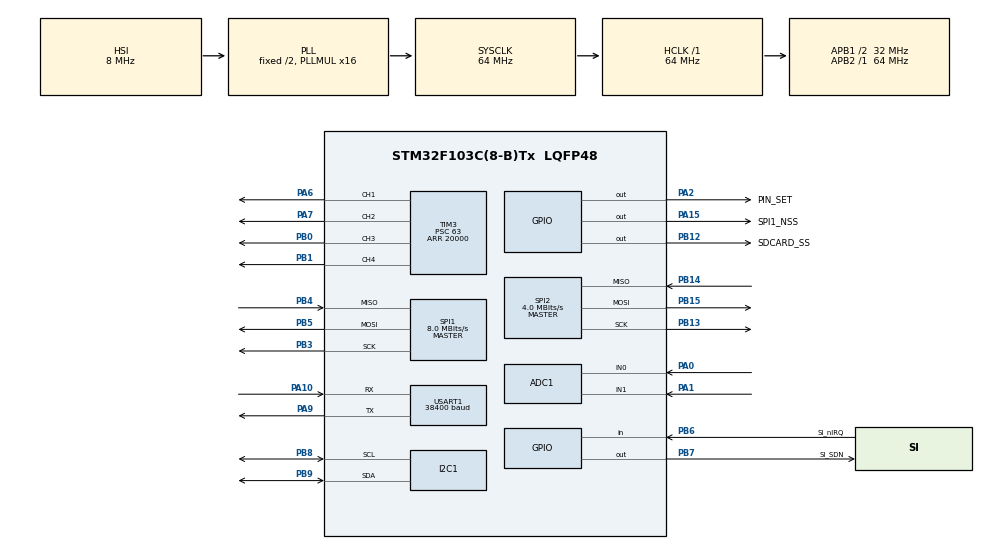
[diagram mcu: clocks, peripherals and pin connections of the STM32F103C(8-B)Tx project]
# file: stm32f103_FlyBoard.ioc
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ADC1.Channel-0\#ChannelRegularConversion=ADC_CHANNEL_0
ADC1.ContinuousConvMode=DISABLE
ADC1.DataAlign=ADC_DATAALIGN_RIGHT
ADC1.DiscontinuousConvMode=DISABLE
ADC1.EnableAnalogWatchDog=false
ADC1.EnableRegularConversion=ENABLE
ADC1.ExternalTrigConv=ADC_SOFTWARE_START
ADC1.InjNumberOfConversion=0
ADC1.NbrOfConversion=1
ADC1.NbrOfConversionFlag=1
ADC1.Rank-0\#ChannelRegularConversion=1
ADC1.SamplingTime-0\#ChannelRegularConversion=ADC_SAMPLETIME_1CYCLE_5
ADC1.ScanConvMode=ADC_SCAN_DISABLE
ADC1.master=1
Dma.Request0=USART1_TX
Dma.USART1_TX.0.Direction=DMA_MEMORY_TO_PERIPH
Dma.USART1_TX.0.Instance=DMA1_Channel4
Dma.USART1_TX.0.MemDataAlignment=DMA_MDATAALIGN_BYTE
Dma.USART1_TX.0.MemInc=DMA_MINC_ENABLE
Dma.USART1_TX.0.Mode=DMA_NORMAL
Dma.USART1_TX.0.PeriphDataAlignment=DMA_PDATAALIGN_BYTE
Dma.USART1_TX.0.PeriphInc=DMA_PINC_DISABLE
Dma.USART1_TX.0.Priority=DMA_PRIORITY_LOW
IWDG.Prescaler=IWDG_PRESCALER_64
IWDG.Reload=1250
Mcu.Family=STM32F1
Mcu.Name=STM32F103C(8-B)Tx
Mcu.Package=LQFP48
NVIC.DMA1_Channel4_IRQn=true\:0\:0\:false\:false\:true\:false
NVIC.PriorityGroup=NVIC_PRIORITYGROUP_4
NVIC.TIM2_IRQn=true\:0\:0\:false\:false\:true\:true
NVIC.USART1_IRQn=true\:0\:0\:false\:false\:true\:true
PA0-WKUP.Signal=ADCx_IN0
PA1.Signal=ADCx_IN1
PA10.Mode=Asynchronous
PA10.Signal=USART1_RX
PA13.Mode=Serial_Wire
PA13.Signal=SYS_JTMS-SWDIO
PA14.Mode=Serial_Wire
PA14.Signal=SYS_JTCK-SWCLK
PA15.GPIO_Label=SPI1_NSS
PA15.GPIO_Speed=GPIO_SPEED_FREQ_HIGH
PA15.Signal=GPIO_Output
PA2.GPIO_Label=PIN_SET
PA2.GPIO_Speed=GPIO_SPEED_FREQ_HIGH
PA2.Signal=GPIO_Output
PA6.Signal=S_TIM3_CH1
PA7.Signal=S_TIM3_CH2
PA9.Mode=Asynchronous
PA9.Signal=USART1_TX
PB0.Signal=S_TIM3_CH3
PB1.Signal=S_TIM3_CH4
PB12.GPIO_Label=SDCARD_SS
PB12.GPIO_Speed=GPIO_SPEED_FREQ_HIGH
PB12.Signal=GPIO_Output
PB13.Mode=Full_Duplex_Master
PB13.Signal=SPI2_SCK
PB14.Mode=Full_Duplex_Master
PB14.Signal=SPI2_MISO
PB15.Mode=Full_Duplex_Master
PB15.Signal=SPI2_MOSI
PB3.Mode=Full_Duplex_Master
PB3.Signal=SPI1_SCK
PB4.Mode=Full_Duplex_Master
PB4.Signal=SPI1_MISO
PB5.Mode=Full_Duplex_Master
PB5.Signal=SPI1_MOSI
PB6.GPIO_Label=SI_nIRQ
PB6.GPIO_PuPd=GPIO_PULLUP
PB6.Signal=GPIO_Input
PB7.GPIO_Label=SI_SDN
PB7.Signal=GPIO_Output
PB8.Mode=I2C
PB8.Signal=I2C1_SCL
PB9.Mode=I2C
PB9.Signal=I2C1_SDA
ProjectManager.HeapSize=0x200
ProjectManager.StackSize=0x400
ProjectManager.TargetToolchain=SW4STM32
RCC.ADCPresc=RCC_ADCPCLK2_DIV6
RCC.AHBFreq_Value=64000000
RCC.APB1CLKDivider=RCC_HCLK_DIV2
RCC.APB1Freq_Value=32000000
RCC.APB1TimFreq_Value=64000000
RCC.APB2Freq_Value=64000000
RCC.APB2TimFreq_Value=64000000
RCC.HCLKFreq_Value=64000000
RCC.PLLMUL=RCC_PLL_MUL16
RCC.SYSCLKFreq_VALUE=64000000
RCC.SYSCLKSource=RCC_SYSCLKSOURCE_PLLCLK
RCC.USBFreq_Value=64000000
SH.ADCx_IN0.0=ADC1_IN0,IN0
SH.ADCx_IN1.0=ADC1_IN1,IN1
SH.S_TIM3_CH1.0=TIM3_CH1,PWM Generation1 CH1
SH.S_TIM3_CH2.0=TIM3_CH2,PWM Generation2 CH2
SH.S_TIM3_CH3.0=TIM3_CH3,PWM Generation3 CH3
SH.S_TIM3_CH4.0=TIM3_CH4,PWM Generation4 CH4
SPI1.BaudRatePrescaler=SPI_BAUDRATEPRESCALER_8
SPI1.CalculateBaudRate=8.0 MBits/s
SPI1.Direction=SPI_DIRECTION_2LINES
SPI1.Mode=SPI_MODE_MASTER
SPI1.VirtualType=VM_MASTER
SPI2.BaudRatePrescaler=SPI_BAUDRATEPRESCALER_8
SPI2.CalculateBaudRate=4.0 MBits/s
SPI2.Direction=SPI_DIRECTION_2LINES
SPI2.Mode=SPI_MODE_MASTER
SPI2.VirtualType=VM_MASTER
TIM2.Period=20
TIM2.Prescaler=31999
TIM3.AutoReloadPreload=TIM_AUTORELOAD_PRELOAD_ENABLE
TIM3.Channel-PWM\ Generation1\ CH1=TIM_CHANNEL_1
TIM3.Channel-PWM\ Generation2\ CH2=TIM_CHANNEL_2
TIM3.Channel-PWM\ Generation3\ CH3=TIM_CHANNEL_3
TIM3.Channel-PWM\ Generation4\ CH4=TIM_CHANNEL_4
TIM3.Period=20000
TIM3.Prescaler=63
TIM3.Pulse-PWM\ Generation1\ CH1=1000
TIM3.Pulse-PWM\ Generation2\ CH2=1000
TIM3.Pulse-PWM\ Generation3\ CH3=1000
USART1.BaudRate=38400
USART1.VirtualMode=VM_ASYNC
VP_IWDG_VS_IWDG.Mode=IWDG_Activate
VP_TIM2_VS_ClockSourceINT.Mode=Internal
board=stm32f103_FlyBoard

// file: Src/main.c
/**
  ******************************************************************************
  * File Name          : main.c
  * Description        : Main program body
  ******************************************************************************
  ** This notice applies to any and all portions of this file
  * that are not between comment pairs USER CODE BEGIN and
  * USER CODE END. Other portions of this file, whether
  * inserted by the user or by software development tools
  * are owned by their respective copyright owners.
  *
  * COPYRIGHT(c) 2019 STMicroelectronics
  *
  * Redistribution and use in source and binary forms, with or without modification,
  * are permitted provided that the following conditions are met:
  *   1. Redistributions of source code must retain the above copyright notice,
  *      this list of conditions and the following disclaimer.
  *   2. Redistributions in binary form must reproduce the above copyright notice,
  *      this list of conditions and the following disclaimer in the documentation
  *      and/or other materials provided with the distribution.
  *   3. Neither the name of STMicroelectronics nor the names of its contributors
  *      may be used to endorse or promote products derived from this software
  *      without specific prior written permission.
  *
  * THIS SOFTWARE IS PROVIDED BY THE COPYRIGHT HOLDERS AND CONTRIBUTORS "AS IS"
  * AND ANY EXPRESS OR IMPLIED WARRANTIES, INCLUDING, BUT NOT LIMITED TO, THE
  * IMPLIED WARRANTIES OF MERCHANTABILITY AND FITNESS FOR A PARTICULAR PURPOSE ARE
  * DISCLAIMED. IN NO EVENT SHALL THE COPYRIGHT HOLDER OR CONTRIBUTORS BE LIABLE
  * FOR ANY DIRECT, INDIRECT, INCIDENTAL, SPECIAL, EXEMPLARY, OR CONSEQUENTIAL
  * DAMAGES (INCLUDING, BUT NOT LIMITED TO, PROCUREMENT OF SUBSTITUTE GOODS OR
  * SERVICES; LOSS OF USE, DATA, OR PROFITS; OR BUSINESS INTERRUPTION) HOWEVER
  * CAUSED AND ON ANY THEORY OF LIABILITY, WHETHER IN CONTRACT, STRICT LIABILITY,
  * OR TORT (INCLUDING NEGLIGENCE OR OTHERWISE) ARISING IN ANY WAY OUT OF THE USE
  * OF THIS SOFTWARE, EVEN IF ADVISED OF THE POSSIBILITY OF SUCH DAMAGE.
  *
  ******************************************************************************
  */
#include "main.h"
#include "stm32f1xx_hal.h"

/* USER CODE BEGIN Includes */

#include "Kalman.h"
#include "MPU9250.h"

#include "Si4463.h"
#include "radio_config_Si4463.h"

#include "uSD.h"

/* USER CODE END Includes */

ADC_HandleTypeDef hadc1;

I2C_HandleTypeDef hi2c1;

IWDG_HandleTypeDef hiwdg;

SPI_HandleTypeDef hspi1;
SPI_HandleTypeDef hspi2;

TIM_HandleTypeDef htim2;
TIM_HandleTypeDef htim3;

UART_HandleTypeDef huart1;
DMA_HandleTypeDef hdma_usart1_tx;

/* USER CODE BEGIN PV */
/* Private variables ---------------------------------------------------------*/

int timerUpdater = 5000;	// Timer for set motors to default state

extern pos_struct Est_A, Est_G, Est_M;
//pos_struct Est_G;
//pos_struct Est_M;
extern signed short MPU_temp;
extern signed int BMP_temp;
extern signed int BMP_press;

float Calc_Pitch=0, Calc_Roll=0, Calc_Yaw=0;	// Calculated position to send out

extern uint8_t aTxBuffer[1];	// DATA from MPU9250 with result value

struct GPSdataStruct{
	uint32_t time;

	uint32_t day;

	uint16_t speed;
	uint16_t hight;
	uint32_t longer;
	uint8_t longer_p;
	uint32_t latit;
	uint8_t latit_p;
	uint8_t N_sp;
	uint8_t autent;
	uint8_t dir_deg;
}GPSdata;

/*
 * Values for set settings SET_...
 */

unsigned char SETmainMotor = 0;	// 0 - off else - on
unsigned char SETmainMotorValue = 0;	//0-255
unsigned char SETsecondMotor = 0;	// 0 - off else - on
unsigned char SETsecondMotorValue = 0;	//0-255
unsigned char SETservo1 = 0;		// 0 - off else - on
unsigned char SETservo1Value = 0;	//0-255
unsigned char SETservo2 = 0;		// 0 - off else - on
unsigned char SETservo2Value = 0;	//0-255
unsigned char SETindication = 0;	//0-indication off else - on

unsigned char SET_typeManage = 0;

unsigned char SET_StabRoll = 0;
unsigned char SET_StabPitch = 0;
unsigned char SET_StabYaw = 0;
unsigned char SET_StabAngelPitch = 0;
unsigned char SET_StabAngelRoll = 0;
unsigned char SET_StabKoeffManage1 = 127;	//ROLL
unsigned char SET_StabKoeffManage2 = 127;	//PITCH
unsigned char SET_StabServo1 = 0;		// if 1 - inverse 0 - norm
unsigned char SET_StabServo2 = 0;		// if 1 - inverse 0 - norm
unsigned char SET_StabKoeffCh1 = 127;		//ROLL
unsigned char SET_StabKoeffCh2 = 127;		//PITCH

unsigned char SET_pos_rev = 0;
unsigned char SET_pos_ang1 = 0x3;//(0x02;pitch reverse)//
unsigned char SET_pos_ang2 = 0x13;

unsigned char SET_StabServoMax1 = 127;		// max Value servo 1
unsigned char SET_StabServoMax2 = 127;		// max Value servo 2

unsigned char SET_CmdTimeout = 20;//200;		// max Value servo 2

unsigned char SET_math_K_angle = 1;		//Kalman Q_angle = SET*0.001;
unsigned char SET_math_K_bias = 3;			//Kalman Q_bias = SET*0.001;
unsigned char SET_math_K_measure = 30;;		//Kalman R_measure = SET*0.001;
unsigned char SET_math_gyroRate = 131;// Kalman rate = gyro/SET_math_gyroRate;

int ADC_data_0 = 0;
int ADC_data_1 = 0;

//circular buffer for receive commands
#define READCMDSTREAM_ARRAY 10

unsigned char ReadCommandStreamArray[READCMDSTREAM_ARRAY][100];
unsigned char ReadCommandStreamArrayCnt[READCMDSTREAM_ARRAY];
int ReadCommandStreamArray_rd=0;
int ReadCommandStreamArray_wr=0;

struct Kalman 	Kalman1 = {0.001, 0.003, 0.03, 0, 0, 0, {{0,0},{0,0}}, {0,0}, 0, 0},	//roll angle stabilization filter
				Kalman2 = {0.001, 0.003, 0.03, 0, 0, 0, {{0,0},{0,0}}, {0,0}, 0, 0};	//pitch angle stabilization filter

int timerMathKalman = 0;	// timer to calculate the angular position of the change in gyroscope

/* USER CODE END PV */

void SystemClock_Config(void);
static void MX_GPIO_Init(void);
static void MX_DMA_Init(void);
static void MX_USART1_UART_Init(void);
static void MX_I2C1_Init(void);
static void MX_ADC1_Init(void);
static void MX_TIM3_Init(void);
static void MX_SPI2_Init(void);
static void MX_TIM2_Init(void);
static void MX_IWDG_Init(void);
static void MX_SPI1_Init(void);

void HAL_TIM_MspPostInit(TIM_HandleTypeDef *htim);

/* USER CODE BEGIN PFP */
/* Private function prototypes -----------------------------------------------*/

void ModemControl(void);
int Read_ADC_Channel(int channel);
void MathData(void);
//void SendDataCMD2(void);
//void SendDataCMD4(void);
void SendDataCMD6(void);
void ReadCommandStream(unsigned char data);
void PrepareDataToTx(void);
void ReadStream(void);
void ReadModem(void);

/* USER CODE END PFP */

/* USER CODE BEGIN 0 */

int modem_busy = 1;		// modem status to avoid collision (may be to future)

#define PACKET_LEN 64	// length receive buffer of modem

#define SYNCHRO_MODE 1	// 1- synchronization mode; 0- simple mode. More in stm8+si4463 project

#define NONE_P  while(0){};	//GPIO_WriteHigh(GPIOB, (GPIO_Pin_TypeDef)GPIO_PIN_5); Delay_ms(1); GPIO_WriteLow(GPIOB, (GPIO_Pin_TypeDef)GPIO_PIN_5)
//#define NONE_P  Delay_ms(1)

typedef enum  {
	PACKET_NONE 		= 0,
	PACKET_DATA			= 1,
	PACKET_ASK			= 2,
	PACKET_ANSWER		= 3,
} PACKET_TYPE;

//  Variables of modem
//volatile int time_delay=0;
//volatile int time_last_tx=0;
volatile int delay_to_wait_answer=0;
volatile int delay_measure_tx=0;
volatile int delay_synchro=0;
char NeedAnswer=0;
int delay_measure_tx_middle=0;

//DELETE									//circular buffer for send out by RF
#define UART_BUF_SIZE 255			// buffer lenght
char UartRxBuffer[UART_BUF_SIZE];	// buffer
volatile int UartRxBuffer_rd = 0;	// read array
volatile int UartRxBuffer_wr = 0;	//	write array

#define BUFFER_TX_RF 64
char BufferTxRf[UART_BUF_SIZE];	// buffer
volatile int BufferTxRf_len = 0;	// read array

unsigned char rbuff[PACKET_LEN],  wbuff[PACKET_LEN];	// in/out buffer of modem

#define StartUP 2000

typedef enum  {
	thread_MPU_temp 			= 0,
	thread_MPU_acc				= 1,
	thread_MPU_gyro				= 2,
	thread_MPU_ag				= 3,
	thread_MPU_mag				= 4,
	thread_BMP_temp				= 5,
	thread_BMP_press			= 6,
	thread_BMP_all				= 7,
	thread_ADC					= 8,
	thread_ModemControl			= 9,
	thread_PrepareDataToTx		= 10,	// Changed to update data to transfer
	thread_ReadStream			= 11,
	thread_ReInit				= 12,
}thread_name;							// names of my threads

// My threads

struct ThreadFlyStruct {			// This is time settings for some processes
	int name;		//enabled = 1 => on; else off
	int enabled;		//enabled = 1 => on; else off
	int t_counter;		//time to run
	int t_interval;		//interval to run

	int status;			//status thread // if (status<0) => error; else pointer in process
	int priority;		// 1..10; 10 high 1 - low
} 		ThreadFly[] = {	{thread_MPU_temp,			1, 	StartUP, 		500, 	-1, 	1},
						{thread_MPU_acc,			0, 	StartUP, 		300, 	-1, 	1},
						{thread_MPU_gyro,			0, 	StartUP, 		300, 	-1, 	1},
						{thread_MPU_ag,				1, 	StartUP, 		50, 	-1, 	1},
						{thread_MPU_mag,			1, 	StartUP, 		500, 	-1, 	1},
						{thread_BMP_temp,			0, 	StartUP+1000, 	2000, 	-1, 	1},
						{thread_BMP_press,			0, 	StartUP, 		2000, 	-1, 	1},
						{thread_BMP_all,			1, 	StartUP, 		250, 	-1, 	1},
						{thread_ADC,				1, 	StartUP, 		1000, 	0, 		1},
						{thread_ModemControl,		1, 	StartUP, 		100, 	0, 		1},
						{thread_PrepareDataToTx,	1, 	StartUP, 		100, 	0, 		1},	//250
						{thread_ReadStream,			1, 	StartUP+50, 	100, 	0, 		1},
						{thread_ReInit,				1, 	5000, 			5000, 	0, 		1}};

// if i2c interface not disabled, then read/write uSD card by SPI will be not correct
#define EN_I2C SET_BIT(RCC->APB1ENR, RCC_APB1ENR_I2C1EN) 		//disable I2c
#define DIS_I2C CLEAR_BIT(RCC->APB1ENR, RCC_APB1ENR_I2C1EN) 	//disable I2c

void moduleMPU9250_Init(void){

	// if any thread is stopped
	if ((ThreadFly[thread_MPU_temp].status >= 0) && ((ThreadFly[thread_MPU_acc].status >= 0) && (ThreadFly[thread_MPU_gyro].status >= 0) &&
		(ThreadFly[thread_MPU_ag].status >= 0) && (ThreadFly[thread_MPU_mag].status >= 0) && (ThreadFly[thread_BMP_temp].status >= 0) &&
		(ThreadFly[thread_BMP_press].status >= 0) && (ThreadFly[thread_BMP_all].status >= 0))) return;

	  EN_I2C;
	  int status_MPU_Init = MPU_Init();						// Init Chip MPU9250
	  DIS_I2C;
	  if (status_MPU_Init == 0) Printf("Device init\n\r");
	  else if (status_MPU_Init == -1) Printf("I2C error, id is %d\n\r", aTxBuffer[0]);
	  else if (status_MPU_Init == -2) Printf("AXIS error, id is %d\n\r", aTxBuffer[0]);
	  else if (status_MPU_Init == -3) Printf("MAG error, id is %d\n\r", aTxBuffer[0]);
	  else if (status_MPU_Init == -4) Printf("BMP error, id is %d\n\r", aTxBuffer[0]);
	  else Printf("Error nothing\n\r");

#define Update(x) if(1){x.status=0; x.t_counter=x.t_interval;}	// thread run

	  if (status_MPU_Init == 0){	// if init MPU9250 OK
		  Update(ThreadFly[thread_MPU_temp]);
		  Update(ThreadFly[thread_MPU_acc]);
		  Update(ThreadFly[thread_MPU_gyro]);
		  Update(ThreadFly[thread_MPU_ag]);
		  Update(ThreadFly[thread_MPU_mag]);
	  }

	  if (status_MPU_Init == 0){EN_I2C;status_MPU_Init = BMPInit();DIS_I2C;}		// Init Chip BMP280

	  if (status_MPU_Init == 0){	//if init MP280 OK
		  Update(ThreadFly[thread_BMP_temp]);
		  Update(ThreadFly[thread_BMP_press]);
		  Update(ThreadFly[thread_BMP_all]);
	  }

}

// handler of all threads
void RunThread(struct ThreadFlyStruct * Struct){
	//if ((Struct->enabled == 0) || (Struct->t_counter != 0) || (Struct->status < 0)) return;
	if (Struct->name == thread_MPU_temp){				EN_I2C;	Struct->status = Get_temp();	DIS_I2C;	}
	else if (Struct->name == thread_MPU_acc){			EN_I2C;	Struct->status = Get_acc();DIS_I2C;}
	else if (Struct->name == thread_MPU_gyro){			EN_I2C;	Struct->status = Get_gyro();	DIS_I2C;}
	else if (Struct->name == thread_MPU_ag){			EN_I2C;	Struct->status = Get_acc(); Get_gyro(); MathData();	DIS_I2C;}
	else if (Struct->name == thread_MPU_mag){			EN_I2C;	Struct->status = Get_mag();	DIS_I2C;}
	else if (Struct->name == thread_BMP_temp){			EN_I2C;	Struct->status = GetBmpTemp();DIS_I2C;}
	else if (Struct->name == thread_BMP_press){			EN_I2C;	Struct->status = GetBmpPress();	DIS_I2C;}
	else if (Struct->name == thread_BMP_all){EN_I2C;	Struct->status = GetDataBmp_cycle();	DIS_I2C;}
	else if (Struct->name == thread_ADC){				ADC_data_0 = Read_ADC_Channel(0); ADC_data_0=(ADC_data_0*3300)/0xFFF;}
	else if (Struct->name == thread_ModemControl){		ModemControl();	}
	else if (Struct->name == thread_PrepareDataToTx){	PrepareDataToTx();}
	else if (Struct->name == thread_ReadStream){		ReadStream();}
	else if (Struct->name == thread_ReInit){			moduleMPU9250_Init();}

	//Struct->t_counter = Struct->t_interval;	// Update counter
}

//poll all threads
//execute the stream with the highest priority and exit
void Thread_Cycle(void)
{
	int thread_all=sizeof(ThreadFly)/sizeof(ThreadFly[0]);
	int priority=10;
	int priorityVar[11] = {0,};	// stories priority options

	//Look at all the priorities
	for (priority=10;priority>0; priority--){	// looking for what priority options exist.
		int cnt = 0;
		priorityVar[priority]=0; 	// priority does not exist
		for (cnt=0; cnt<thread_all; cnt++){
			if (ThreadFly[cnt].priority == priority)
			{
				priorityVar[priority]=1; // priority exist
				continue;
			}
		}
	}
	//Look at all exist the priorities
	for (priority=10;priority>0; priority--){
		if (priorityVar[priority] != 1) continue;	// priority does not exist
		int cnt = 0;
		for (cnt=0; cnt<thread_all; cnt++){
			if ((ThreadFly[cnt].priority == priority) && (ThreadFly[cnt].enabled == 1) && (ThreadFly[cnt].t_counter == 0) && (ThreadFly[cnt].status >= 0)){
				RunThread(&ThreadFly[cnt]);	// Run thread
				ThreadFly[cnt].t_counter = ThreadFly[cnt].t_interval;	// Update counter
				return;
			}
		}
	}
}

// 1ms SYS Callback
void HAL_SYSTICK_Callback(void)
{
	static int timSec = 0;
	if (0)if (timSec++>5000){timSec=0; Printf("rx time is %d\n\r", GPSdata.time);
	 Printf("day is %d\n\r", GPSdata.day);
	 Printf("autent is %d\n\r", GPSdata.autent);
	 Printf("speed is %d\n\r", GPSdata.speed);
	 Printf("dir_deg is %d\n\r", GPSdata.dir_deg);
	 Printf("longer is %d\n\r", GPSdata.longer);
	 Printf("longer_p is %d\n\r", GPSdata.longer_p);
	 Printf("latit is %d\n\r", GPSdata.latit);
	 Printf("latit_p is %d\n\r", GPSdata.latit_p);
	 Printf("N_sp is %d\n\r", GPSdata.N_sp);
	 Printf("hight is %d\n\r", GPSdata.hight);
	}

	timerMathKalman++;

	if(delay_to_wait_answer>0) delay_to_wait_answer--;
	else ThreadFly[thread_ModemControl].t_counter = 0;//{thread_ModemControl.t_counter = 0;}														//TODO

	if(delay_synchro>0) delay_synchro--;	// timer for synchronization modem
	delay_measure_tx++;

// Updater time for counters
	if (ThreadFly[thread_MPU_temp].t_counter>0) ThreadFly[thread_MPU_temp].t_counter--;
	if (ThreadFly[thread_MPU_acc].t_counter>0) ThreadFly[thread_MPU_acc].t_counter--;
	if (ThreadFly[thread_MPU_gyro].t_counter>0) ThreadFly[thread_MPU_gyro].t_counter--;
	if (ThreadFly[thread_MPU_ag].t_counter>0) ThreadFly[thread_MPU_ag].t_counter--;
	if (ThreadFly[thread_MPU_mag].t_counter>0) ThreadFly[thread_MPU_mag].t_counter--;
	if (ThreadFly[thread_BMP_temp].t_counter>0) ThreadFly[thread_BMP_temp].t_counter--;
	if (ThreadFly[thread_BMP_press].t_counter>0) ThreadFly[thread_BMP_press].t_counter--;
	if (ThreadFly[thread_BMP_all].t_counter>0) ThreadFly[thread_BMP_all].t_counter--;
	if (ThreadFly[thread_ADC].t_counter>0) ThreadFly[thread_ADC].t_counter--;
	if (ThreadFly[thread_ModemControl].t_counter>0) ThreadFly[thread_ModemControl].t_counter--;
	if (ThreadFly[thread_PrepareDataToTx].t_counter>0) ThreadFly[thread_PrepareDataToTx].t_counter--;
	if (ThreadFly[thread_ReadStream].t_counter>0) ThreadFly[thread_ReadStream].t_counter--;
	if (ThreadFly[thread_ReInit].t_counter>0) ThreadFly[thread_ReInit].t_counter--;

	if (timerUpdater>0){timerUpdater--;}
	else {
		if (SET_typeManage==0) {		// manual manage
			timerUpdater=SET_CmdTimeout*100;
			  TIM3->CCR1 = 1000;	//main motor
			  TIM3->CCR2 = 1500;	//servo2
			  TIM3->CCR3 = 1500;	//servo1
			  TIM3->CCR4 = 1000;	//second motor
		}
		else if (SET_typeManage==1) {	//auto manage
			timerUpdater=SET_CmdTimeout*100;
			  TIM3->CCR1 = 1000;	//main motor
			  TIM3->CCR4 = 1000;	//second motor
			SET_StabRoll=0;
			SET_StabPitch=0;
			SET_StabYaw=0;
		}

	}

}

/* ADC init function */
static void ADC_Change_Channel(int Channel)
{

	  ADC_ChannelConfTypeDef sConfig;

	    /**Common config
	    */
	  hadc1.Instance = ADC1;
	  hadc1.Init.ScanConvMode = ADC_SCAN_DISABLE;
	  hadc1.Init.ContinuousConvMode = DISABLE;
	  hadc1.Init.DiscontinuousConvMode = DISABLE;
	  hadc1.Init.ExternalTrigConv = ADC_SOFTWARE_START;
	  hadc1.Init.DataAlign = ADC_DATAALIGN_RIGHT;
	  hadc1.Init.NbrOfConversion = 1;
	  if (HAL_ADC_Init(&hadc1) != HAL_OK)
	  {
	    _Error_Handler(__FILE__, __LINE__);
	  }

	    /**Configure Regular Channel
	    */

    /**Configure for the selected ADC regular channel to be converted.
    */

	  sConfig.Channel = Channel;//ADC_CHANNEL_1;
	  sConfig.Rank = 1;
	  sConfig.SamplingTime = ADC_SAMPLETIME_1CYCLE_5;
	  if (HAL_ADC_ConfigChannel(&hadc1, &sConfig) != HAL_OK)
	  {
	    _Error_Handler(__FILE__, __LINE__);
	  }

}

int Read_ADC_Channel(int channel)
{
	int adcResult=0, i=0,Count = 10;	// if Count = 1 => Time read = 50us; if Count = 10 => Time read = 63.6us
	  HAL_ADC_DeInit(&hadc1);
	  ADC_Change_Channel(channel);

	  HAL_ADC_Start(&hadc1);
	  HAL_ADC_PollForConversion(&hadc1, 100);
	  for (i=0; i<Count; i++)
		  {
		  adcResult += HAL_ADC_GetValue(&hadc1);
		  }
	  HAL_ADC_Stop(&hadc1);
	  return (adcResult/Count);
}

#include <stdarg.h>

void Printf(const char *fmt, ...)
{
	static char buf[256];
	char *p;
	va_list lst;

	va_start(lst, fmt);
	vsprintf(buf, fmt, lst);
	va_end(lst);

	p = buf;
	while(*p) {
		HAL_UART_Transmit(&huart1, (unsigned char *)p, 1, 500);
		p++;
	}
}

void PrepareDataToTx(void){
//	if (1)if (SendDataUART_fl){
//		SendDataUART_fl=0;
	SendDataCMD6();
		//HAL_UART_Transmit(&huart1, PacketToSend, sizeof(CMD2PacketStruct)-2, 500);	//41

//	}
}

void ReadStream(void){
	if (ReadCommandStreamArray_rd != ReadCommandStreamArray_wr){

		int cnt = ReadCommandStreamArrayCnt[ReadCommandStreamArray_rd];
		int i=0;
	  if (cnt>0)do{
		 ReadCommandStream(ReadCommandStreamArray[ReadCommandStreamArray_rd][i++]);
	  }while(--cnt>0);
	  if(++ReadCommandStreamArray_rd>=READCMDSTREAM_ARRAY)ReadCommandStreamArray_rd=0;

	}
}

#include "Kalman.h"
#include <math.h>

void MathData(void)		//Calculate data by acceleration, gyroscope and magnetometer
{
	#define RAD_TO_DEG (180/3.14159265)
	// type 1	// true
	//double kalAngle1 = getAngle1((atan2(Est_A.y,Est_A.z))*RAD_TO_DEG, (double)Est_G.x/131.0, (double)(timerMathKalman)/1000);
	//double kalAngle2 = getAngle2((atan2(Est_A.x,Est_A.z))*RAD_TO_DEG, -((double)Est_G.y/131.0), (double)(timerMathKalman)/1000);

	// type 2	face to up dlo is back
	//double kalAngle1 = getAngle2((-atan2(-Est_A.x,Est_A.z))*RAD_TO_DEG, -((double)Est_G.y/131.0), (double)(timerMathKalman)/1000);
	//double kalAngle2 = getAngle1((-atan2(Est_A.y,Est_A.z))*RAD_TO_DEG, -(double)Est_G.x/131.0, (double)(timerMathKalman)/1000);

	// type 3 ( revers type 2 by roll 180)	face to down dlo is back

	//double kalAngle2 = getAngle1((atan2(-Est_A.y,-Est_A.z))*RAD_TO_DEG, (double)Est_G.x/131.0, (double)(timerMathKalman)/1000);
	//double kalAngle1 = getAngle2((atan2(-Est_A.x,-Est_A.z))*RAD_TO_DEG, -((double)Est_G.y/131.0), (double)(timerMathKalman)/1000);

	double ang1;// = (atan2(-Est_A.y,-Est_A.z))*RAD_TO_DEG;
	double gyro_div = SET_math_gyroRate;
	double gyro1 = (double)Est_G.x/gyro_div;//131.0;

	signed short arg1_1 = Est_A.y;
	signed short arg1_2 = Est_A.z;

	if ((SET_pos_ang1&(0x1<<0)) != 0) arg1_1 = -arg1_1;
	if ((SET_pos_ang1&(0x1<<1)) != 0) arg1_2 = -arg1_2;

	ang1 = (atan2(arg1_1,arg1_2))*RAD_TO_DEG;
	if ((SET_pos_ang1&(0x1<<5)) != 0) ang1 = -ang1;
	if ((SET_pos_ang1&(0x1<<4)) != 0) gyro1 = -gyro1;

	double ang2;// = (atan2(-Est_A.x,-Est_A.z))*RAD_TO_DEG;
	double gyro2 = ((double)Est_G.y/gyro_div);//131.0);

	signed short arg2_1 = Est_A.x;
	signed short arg2_2 = Est_A.z;

	if ((SET_pos_ang2&(0x1<<0)) != 0) arg2_1 = -arg2_1;
	if ((SET_pos_ang2&(0x1<<1)) != 0) arg2_2 = -arg2_2;

	ang2 = (atan2(arg2_1,arg2_2))*RAD_TO_DEG;
	if ((SET_pos_ang2&(0x1<<5)) != 0) ang2 = -ang2;
	if ((SET_pos_ang2&(0x1<<4)) != 0) gyro2 = -gyro2;

	ang1+=180;	//convert angle
	ang2+=180;

	double kalAngle2 = getAngle(&Kalman1, ang1, gyro1, (double)(timerMathKalman)/1000);
	double kalAngle1 = getAngle(&Kalman2, ang2, gyro2, (double)(timerMathKalman)/1000);

	if (SET_pos_rev != 0){
		double temp =  kalAngle2;
		kalAngle2 = kalAngle1;
		kalAngle1 = temp;
	}

	kalAngle1-=180;
	kalAngle2-=180;
	timerMathKalman=0;

	Calc_Roll = kalAngle1;
	Calc_Pitch = kalAngle2;
	Calc_Yaw= atan2(Calc_Pitch, Calc_Roll)*RAD_TO_DEG;

	//stabilization	//FIXME

if (SET_typeManage==0) return;		// if manual control

//if auto correction angle by position

	/*
	 *
unsigned char SET_typeManage = 0;
unsigned char SET_StabRoll = 0;
unsigned char SET_StabPitch = 0;
unsigned char SET_StabYaw = 0;
unsigned char SET_StabAngelRoll = 0;
unsigned char SET_StabAngelPitch = 0;
unsigned char SET_StabMaxValue1 = 127;	//ROLL
unsigned char SET_StabMaxValue2 = 127;	//PITCH
unsigned char SET_StabServo1 = 0;		// if 1 - inverse 0 - norm
unsigned char SET_StabServo2 = 0;		// if 1 - inverse 0 - norm
unsigned char SET_StabKoeffCh1 = 90;		//ROLL
unsigned char SET_StabKoeffCh2 = 90;		//PITCH

unsigned char SET_pos_rev = 0;
unsigned char SET_pos_ang1 = 0x3;//(0x02;pitch reverse)//
unsigned char SET_pos_ang2 = 0x13;

unsigned char SET_StabServoMax1 = 127;		// max Value servo 1
unsigned char SET_StabServoMax2 = 127;		// max Value servo 2

	 */

	int CH_pitch = 0;
	int CH_roll = 0;

	signed char SetAngel = *(char *)&SET_StabAngelPitch;
	signed char SetRollAngel = *(char *)&SET_StabAngelRoll;

	CH_roll = *(signed char *)&SET_StabRoll;
	CH_pitch = *(signed char *)&SET_StabPitch;

	int servo1 = 0;
	int servo2 = 0;

	//int diff = ((Calc_Roll + CH_roll)*SET_StabMaxValue1)/SET_StabKoeffCh1;
	int diff = (((Calc_Roll + SetRollAngel)*SET_StabKoeffCh1)/45) + ((CH_roll*SET_StabKoeffManage1)/100);
	//int position = ((Calc_Pitch + SetAngel+ CH_pitch)*SET_StabMaxValue2)/SET_StabKoeffCh2;
	int position = ((Calc_Pitch + SetAngel)*SET_StabKoeffCh2)/45 +
											(CH_pitch*SET_StabKoeffManage2)/100;

	int diff1 = 0;
	int diff2 = 0;

	if ((SET_StabServo1&0x2) == 0)	{diff1 = diff;}
	else	{diff1 = -diff;}
	if ((SET_StabServo2&0x2) == 0)	{diff2 = diff;}
	else	{diff2 = -diff;}

	if ((SET_StabServo1&0x1) == 0)	{servo1 = position +diff1;}	//norm value
	else  							{servo1 = -position +diff1;}//inverse value

	if ((SET_StabServo2&0x1) == 0)	{servo2 = -position +diff2;}//norm value
	else 							{servo2 = position +diff2;}	//inverse value

//#define SERVO_MAXVALUE 127
	if (servo1>SET_StabServoMax1) servo1 = SET_StabServoMax1;
	if (servo1<(0-SET_StabServoMax1)) servo1 = -SET_StabServoMax1;
	if (servo2>SET_StabServoMax2) servo2 = SET_StabServoMax2;
	if (servo2<(0-SET_StabServoMax2)) servo2 = -SET_StabServoMax2;

	int setValue;

	setValue = 1500 + ((servo1*500)/0x7F);
	if ((setValue>2000) || (setValue<1000)) setValue = 1500;
	TIM3->CCR2 = setValue;

	setValue = 1500 + ((servo2*500)/0x7F);
	if ((setValue>2000) || (setValue<1000)) setValue = 1500;
	TIM3->CCR3 = setValue;

}

int GPRMC = 0;
char GPRMC_s[5] = "GPRMC";
int GPGGA = 0;
char GPGGA_s[5] = "GPGGA";

void RxDataUart(unsigned char data){		// read GPS data

	static int pos = 0;
	static int dataPos = 0;
	static int dataRead = 0;
	static int dataReadPoint = 0;
	static char dataReadChar = 0;

	if ((pos == 0) && (data == '$')) {pos++; GPRMC=0; GPGGA=0; dataPos=0; dataReadChar='\0';}
	else if ((pos >= 1) && (pos <= 5)){
		if (GPRMC_s[pos-1] == data) GPRMC++;
		if (GPGGA_s[pos-1] == data) GPGGA++;
		pos++;
	}
	else if ((pos == 6) && ((GPRMC == 5) || GPGGA == 5)) {//datarx++;
		if (data == ','){
			if (GPRMC == 5){
				if (dataPos == 1){GPSdata.time = dataRead/100;}
				if (dataPos == 2){GPSdata.autent = dataReadChar;}
				if (dataPos == 7){GPSdata.speed = dataRead/dataReadPoint;}
				if (dataPos == 8){GPSdata.dir_deg = dataRead/dataReadPoint;}
				if (dataPos == 9){GPSdata.day = dataRead;}
			}
			else if (GPGGA == 5){
				if (dataPos == 1){GPSdata.time = dataRead/100;}
				if (dataPos == 2){GPSdata.longer = dataRead;}
				if (dataPos == 3){GPSdata.longer_p = dataReadChar;}
				if (dataPos == 4){GPSdata.latit = dataRead;}
				if (dataPos == 5){GPSdata.latit_p = dataReadChar;}
				if (dataPos == 7){GPSdata.N_sp = dataRead;}
				if (dataPos == 9){GPSdata.hight = dataRead/(dataReadPoint);}
			}
			dataRead=0; dataReadPoint=0;
			dataPos++;}

		else if ((data == '\n') || (data == '\r') || (data < 0x10)) pos=0;
		else {
			if ((data>=0x30) && (data<=0x39)) {dataRead*=10; dataRead+=data-0x30; if (dataReadPoint!=0)dataReadPoint*=10;}
			else if (data == '.') dataReadPoint++;
			else dataReadChar += data;
		}
	}
	else pos=0;

}

/* USER CODE END 0 */

int main(void)
{

  /* MCU Configuration----------------------------------------------------------*/

  /* Reset of all peripherals, Initializes the Flash interface and the Systick. */
  HAL_Init();

  /* Configure the system clock */
  SystemClock_Config();

  /* Initialize all configured peripherals */
  MX_GPIO_Init();
  MX_DMA_Init();
  MX_USART1_UART_Init();
  MX_I2C1_Init();
  MX_ADC1_Init();
  MX_TIM3_Init();
  MX_SPI2_Init();
  MX_TIM2_Init();
  MX_IWDG_Init();
  MX_SPI1_Init();

  /* USER CODE BEGIN 2 */

  CLEAR_BIT(RCC->APB1ENR, RCC_APB1ENR_I2C1EN); //disable I2c

  HAL_IWDG_Init(&hiwdg);
  __HAL_IWDG_START(&hiwdg);
  HAL_IWDG_Refresh(&hiwdg);

  HAL_TIM_Base_Start(&htim3);

  HAL_TIM_PWM_Start(&htim3, TIM_CHANNEL_1);
  HAL_TIM_PWM_Start(&htim3, TIM_CHANNEL_2);
  HAL_TIM_PWM_Start(&htim3, TIM_CHANNEL_3);
  HAL_TIM_PWM_Start(&htim3, TIM_CHANNEL_4);

  TIM3->CCR1 = 1000;	//main motor
  TIM3->CCR2 = 1500;	//servo2
  TIM3->CCR3 = 1500;	//servo1
  TIM3->CCR4 = 1000;	//second motor

  __HAL_UART_ENABLE_IT(&huart1, UART_IT_RXNE);	// Enable Interrupt

  //uSD_Test();

  moduleMPU9250_Init();

  HAL_IWDG_Refresh(&hiwdg);

  HAL_GPIO_WritePin(SI_SDN_GPIO_Port, SI_SDN_Pin, GPIO_PIN_SET);	//Shut down on (si4463)
  HAL_Delay(200);
  HAL_GPIO_WritePin(SI_SDN_GPIO_Port, SI_SDN_Pin, GPIO_PIN_RESET);	//Shut down off (si4463)
  HAL_Delay(200);

  unsigned char buffer[16];
  do{

	HAL_IWDG_Refresh(&hiwdg);

  	SI446X_PART_INFO(buffer);

  	Printf("Si data is : 0x%x, 0x%x\n\r", buffer[2], buffer[3]);
  	if ((buffer[2] == 0x44) && (buffer[3]== 0x63)) Printf("Dev is si4463\n\r");
  	HAL_Delay(100);

  }while((buffer[3]!= 0x63));

  HAL_IWDG_Refresh(&hiwdg);

  RFinit();			//Set Settings Config to Si4463

  SI446X_FIFOINFO(0, 0, 1, 1);		// BUFFER CLEAR

  changeState(STATE_RX);			// Set state to RX

  HAL_IWDG_Refresh(&hiwdg);

Printf("Started...\n\r");

  /* USER CODE END 2 */

  /* Infinite loop */
  /* USER CODE BEGIN WHILE */
  while (1)
  {

	  HAL_IWDG_Refresh(&hiwdg);

	  Thread_Cycle();

  /* USER CODE END WHILE */

  }

}

/** System Clock Configuration
*/
void SystemClock_Config(void)
{

  RCC_OscInitTypeDef RCC_OscInitStruct;
  RCC_ClkInitTypeDef RCC_ClkInitStruct;
  RCC_PeriphCLKInitTypeDef PeriphClkInit;

    /**Initializes the CPU, AHB and APB busses clocks
    */
  RCC_OscInitStruct.OscillatorType = RCC_OSCILLATORTYPE_HSI|RCC_OSCILLATORTYPE_LSI;
  RCC_OscInitStruct.HSIState = RCC_HSI_ON;
  RCC_OscInitStruct.HSICalibrationValue = 16;
  RCC_OscInitStruct.LSIState = RCC_LSI_ON;
  RCC_OscInitStruct.PLL.PLLState = RCC_PLL_ON;
  RCC_OscInitStruct.PLL.PLLSource = RCC_PLLSOURCE_HSI_DIV2;
  RCC_OscInitStruct.PLL.PLLMUL = RCC_PLL_MUL16;
  if (HAL_RCC_OscConfig(&RCC_OscInitStruct) != HAL_OK)
  {
    _Error_Handler(__FILE__, __LINE__);
  }

    /**Initializes the CPU, AHB and APB busses clocks
    */
  RCC_ClkInitStruct.ClockType = RCC_CLOCKTYPE_HCLK|RCC_CLOCKTYPE_SYSCLK
                              |RCC_CLOCKTYPE_PCLK1|RCC_CLOCKTYPE_PCLK2;
  RCC_ClkInitStruct.SYSCLKSource = RCC_SYSCLKSOURCE_PLLCLK;
  RCC_ClkInitStruct.AHBCLKDivider = RCC_SYSCLK_DIV1;
  RCC_ClkInitStruct.APB1CLKDivider = RCC_HCLK_DIV2;
  RCC_ClkInitStruct.APB2CLKDivider = RCC_HCLK_DIV1;

  if (HAL_RCC_ClockConfig(&RCC_ClkInitStruct, FLASH_LATENCY_2) != HAL_OK)
  {
    _Error_Handler(__FILE__, __LINE__);
  }

  PeriphClkInit.PeriphClockSelection = RCC_PERIPHCLK_ADC;
  PeriphClkInit.AdcClockSelection = RCC_ADCPCLK2_DIV6;
  if (HAL_RCCEx_PeriphCLKConfig(&PeriphClkInit) != HAL_OK)
  {
    _Error_Handler(__FILE__, __LINE__);
  }

    /**Configure the Systick interrupt time
    */
  HAL_SYSTICK_Config(HAL_RCC_GetHCLKFreq()/1000);

    /**Configure the Systick
    */
  HAL_SYSTICK_CLKSourceConfig(SYSTICK_CLKSOURCE_HCLK);

  /* SysTick_IRQn interrupt configuration */
  HAL_NVIC_SetPriority(SysTick_IRQn, 0, 0);
}

/* ADC1 init function */
static void MX_ADC1_Init(void)
{

  ADC_ChannelConfTypeDef sConfig;

    /**Common config
    */
  hadc1.Instance = ADC1;
  hadc1.Init.ScanConvMode = ADC_SCAN_DISABLE;
  hadc1.Init.ContinuousConvMode = DISABLE;
  hadc1.Init.DiscontinuousConvMode = DISABLE;
  hadc1.Init.ExternalTrigConv = ADC_SOFTWARE_START;
  hadc1.Init.DataAlign = ADC_DATAALIGN_RIGHT;
  hadc1.Init.NbrOfConversion = 1;
  if (HAL_ADC_Init(&hadc1) != HAL_OK)
  {
    _Error_Handler(__FILE__, __LINE__);
  }

    /**Configure Regular Channel
    */
  sConfig.Channel = ADC_CHANNEL_0;
  sConfig.Rank = 1;
  sConfig.SamplingTime = ADC_SAMPLETIME_1CYCLE_5;
  if (HAL_ADC_ConfigChannel(&hadc1, &sConfig) != HAL_OK)
  {
    _Error_Handler(__FILE__, __LINE__);
  }

}

/* I2C1 init function */
static void MX_I2C1_Init(void)
{

  hi2c1.Instance = I2C1;
  hi2c1.Init.ClockSpeed = 100000;
  hi2c1.Init.DutyCycle = I2C_DUTYCYCLE_2;
  hi2c1.Init.OwnAddress1 = 0;
  hi2c1.Init.AddressingMode = I2C_ADDRESSINGMODE_7BIT;
  hi2c1.Init.DualAddressMode = I2C_DUALADDRESS_DISABLE;
  hi2c1.Init.OwnAddress2 = 0;
  hi2c1.Init.GeneralCallMode = I2C_GENERALCALL_DISABLE;
  hi2c1.Init.NoStretchMode = I2C_NOSTRETCH_DISABLE;
  if (HAL_I2C_Init(&hi2c1) != HAL_OK)
  {
    _Error_Handler(__FILE__, __LINE__);
  }

}

/* IWDG init function */
static void MX_IWDG_Init(void)
{

  hiwdg.Instance = IWDG;
  hiwdg.Init.Prescaler = IWDG_PRESCALER_64;
  hiwdg.Init.Reload = 1250;
  if (HAL_IWDG_Init(&hiwdg) != HAL_OK)
  {
    _Error_Handler(__FILE__, __LINE__);
  }

}

/* SPI1 init function */
static void MX_SPI1_Init(void)
{

  /* SPI1 parameter configuration*/
  hspi1.Instance = SPI1;
  hspi1.Init.Mode = SPI_MODE_MASTER;
  hspi1.Init.Direction = SPI_DIRECTION_2LINES;
  hspi1.Init.DataSize = SPI_DATASIZE_8BIT;
  hspi1.Init.CLKPolarity = SPI_POLARITY_LOW;
  hspi1.Init.CLKPhase = SPI_PHASE_1EDGE;
  hspi1.Init.NSS = SPI_NSS_SOFT;
  hspi1.Init.BaudRatePrescaler = SPI_BAUDRATEPRESCALER_8;
  hspi1.Init.FirstBit = SPI_FIRSTBIT_MSB;
  hspi1.Init.TIMode = SPI_TIMODE_DISABLE;
  hspi1.Init.CRCCalculation = SPI_CRCCALCULATION_DISABLE;
  hspi1.Init.CRCPolynomial = 10;
  if (HAL_SPI_Init(&hspi1) != HAL_OK)
  {
    _Error_Handler(__FILE__, __LINE__);
  }

}

/* SPI2 init function */
static void MX_SPI2_Init(void)
{

  /* SPI2 parameter configuration*/
  hspi2.Instance = SPI2;
  hspi2.Init.Mode = SPI_MODE_MASTER;
  hspi2.Init.Direction = SPI_DIRECTION_2LINES;
  hspi2.Init.DataSize = SPI_DATASIZE_8BIT;
  hspi2.Init.CLKPolarity = SPI_POLARITY_LOW;
  hspi2.Init.CLKPhase = SPI_PHASE_1EDGE;
  hspi2.Init.NSS = SPI_NSS_SOFT;
  hspi2.Init.BaudRatePrescaler = SPI_BAUDRATEPRESCALER_8;
  hspi2.Init.FirstBit = SPI_FIRSTBIT_MSB;
  hspi2.Init.TIMode = SPI_TIMODE_DISABLE;
  hspi2.Init.CRCCalculation = SPI_CRCCALCULATION_DISABLE;
  hspi2.Init.CRCPolynomial = 10;
  if (HAL_SPI_Init(&hspi2) != HAL_OK)
  {
    _Error_Handler(__FILE__, __LINE__);
  }

}

/* TIM2 init function */
static void MX_TIM2_Init(void)
{

  TIM_ClockConfigTypeDef sClockSourceConfig;
  TIM_MasterConfigTypeDef sMasterConfig;

  htim2.Instance = TIM2;
  htim2.Init.Prescaler = 31999;
  htim2.Init.CounterMode = TIM_COUNTERMODE_UP;
  htim2.Init.Period = 20;
  htim2.Init.ClockDivision = TIM_CLOCKDIVISION_DIV1;
  htim2.Init.AutoReloadPreload = TIM_AUTORELOAD_PRELOAD_DISABLE;
  if (HAL_TIM_Base_Init(&htim2) != HAL_OK)
  {
    _Error_Handler(__FILE__, __LINE__);
  }

  sClockSourceConfig.ClockSource = TIM_CLOCKSOURCE_INTERNAL;
  if (HAL_TIM_ConfigClockSource(&htim2, &sClockSourceConfig) != HAL_OK)
  {
    _Error_Handler(__FILE__, __LINE__);
  }

  sMasterConfig.MasterOutputTrigger = TIM_TRGO_RESET;
  sMasterConfig.MasterSlaveMode = TIM_MASTERSLAVEMODE_DISABLE;
  if (HAL_TIMEx_MasterConfigSynchronization(&htim2, &sMasterConfig) != HAL_OK)
  {
    _Error_Handler(__FILE__, __LINE__);
  }

}

/* TIM3 init function */
static void MX_TIM3_Init(void)
{

  TIM_MasterConfigTypeDef sMasterConfig;
  TIM_OC_InitTypeDef sConfigOC;

  htim3.Instance = TIM3;
  htim3.Init.Prescaler = 63;
  htim3.Init.CounterMode = TIM_COUNTERMODE_UP;
  htim3.Init.Period = 20000;
  htim3.Init.ClockDivision = TIM_CLOCKDIVISION_DIV1;
  htim3.Init.AutoReloadPreload = TIM_AUTORELOAD_PRELOAD_ENABLE;
  if (HAL_TIM_PWM_Init(&htim3) != HAL_OK)
  {
    _Error_Handler(__FILE__, __LINE__);
  }

  sMasterConfig.MasterOutputTrigger = TIM_TRGO_RESET;
  sMasterConfig.MasterSlaveMode = TIM_MASTERSLAVEMODE_DISABLE;
  if (HAL_TIMEx_MasterConfigSynchronization(&htim3, &sMasterConfig) != HAL_OK)
  {
    _Error_Handler(__FILE__, __LINE__);
  }

  sConfigOC.OCMode = TIM_OCMODE_PWM1;
  sConfigOC.Pulse = 1000;
  sConfigOC.OCPolarity = TIM_OCPOLARITY_HIGH;
  sConfigOC.OCFastMode = TIM_OCFAST_DISABLE;
  if (HAL_TIM_PWM_ConfigChannel(&htim3, &sConfigOC, TIM_CHANNEL_1) != HAL_OK)
  {
    _Error_Handler(__FILE__, __LINE__);
  }

  if (HAL_TIM_PWM_ConfigChannel(&htim3, &sConfigOC, TIM_CHANNEL_2) != HAL_OK)
  {
    _Error_Handler(__FILE__, __LINE__);
  }

  if (HAL_TIM_PWM_ConfigChannel(&htim3, &sConfigOC, TIM_CHANNEL_3) != HAL_OK)
  {
    _Error_Handler(__FILE__, __LINE__);
  }

  sConfigOC.Pulse = 0;
  if (HAL_TIM_PWM_ConfigChannel(&htim3, &sConfigOC, TIM_CHANNEL_4) != HAL_OK)
  {
    _Error_Handler(__FILE__, __LINE__);
  }

  HAL_TIM_MspPostInit(&htim3);

}

/* USART1 init function */
static void MX_USART1_UART_Init(void)
{

  huart1.Instance = USART1;
  huart1.Init.BaudRate = 38400;
  huart1.Init.WordLength = UART_WORDLENGTH_8B;
  huart1.Init.StopBits = UART_STOPBITS_1;
  huart1.Init.Parity = UART_PARITY_NONE;
  huart1.Init.Mode = UART_MODE_TX_RX;
  huart1.Init.HwFlowCtl = UART_HWCONTROL_NONE;
  huart1.Init.OverSampling = UART_OVERSAMPLING_16;
  if (HAL_UART_Init(&huart1) != HAL_OK)
  {
    _Error_Handler(__FILE__, __LINE__);
  }

}

static void MX_DMA_Init(void)
{
  /* DMA controller clock enable */
  __HAL_RCC_DMA1_CLK_ENABLE();

  /* DMA interrupt init */
  /* DMA1_Channel4_IRQn interrupt configuration */
  HAL_NVIC_SetPriority(DMA1_Channel4_IRQn, 0, 0);
  HAL_NVIC_EnableIRQ(DMA1_Channel4_IRQn);

}

/** Configure pins as
        * Analog
        * Input
        * Output
        * EVENT_OUT
        * EXTI
*/
static void MX_GPIO_Init(void)
{

  GPIO_InitTypeDef GPIO_InitStruct;

  /* GPIO Ports Clock Enable */
  __HAL_RCC_GPIOA_CLK_ENABLE();
  __HAL_RCC_GPIOB_CLK_ENABLE();

  /*Configure GPIO pin Output Level */
  HAL_GPIO_WritePin(GPIOA, PIN_SET_Pin|SPI1_NSS_Pin, GPIO_PIN_RESET);

  /*Configure GPIO pin Output Level */
  HAL_GPIO_WritePin(GPIOB, SDCARD_SS_Pin|SI_SDN_Pin, GPIO_PIN_RESET);

  /*Configure GPIO pins : PIN_SET_Pin SPI1_NSS_Pin */
  GPIO_InitStruct.Pin = PIN_SET_Pin|SPI1_NSS_Pin;
  GPIO_InitStruct.Mode = GPIO_MODE_OUTPUT_PP;
  GPIO_InitStruct.Speed = GPIO_SPEED_FREQ_HIGH;
  HAL_GPIO_Init(GPIOA, &GPIO_InitStruct);

  /*Configure GPIO pin : SDCARD_SS_Pin */
  GPIO_InitStruct.Pin = SDCARD_SS_Pin;
  GPIO_InitStruct.Mode = GPIO_MODE_OUTPUT_PP;
  GPIO_InitStruct.Speed = GPIO_SPEED_FREQ_HIGH;
  HAL_GPIO_Init(SDCARD_SS_GPIO_Port, &GPIO_InitStruct);

  /*Configure GPIO pin : SI_nIRQ_Pin */
  GPIO_InitStruct.Pin = SI_nIRQ_Pin;
  GPIO_InitStruct.Mode = GPIO_MODE_INPUT;
  GPIO_InitStruct.Pull = GPIO_PULLUP;
  HAL_GPIO_Init(SI_nIRQ_GPIO_Port, &GPIO_InitStruct);

  /*Configure GPIO pin : SI_SDN_Pin */
  GPIO_InitStruct.Pin = SI_SDN_Pin;
  GPIO_InitStruct.Mode = GPIO_MODE_OUTPUT_PP;
  GPIO_InitStruct.Speed = GPIO_SPEED_FREQ_LOW;
  HAL_GPIO_Init(SI_SDN_GPIO_Port, &GPIO_InitStruct);

}

/* USER CODE BEGIN 4 */

void SendDataCMD6(void)	// cmd to send data out by RF
{
	unsigned char PacketToSend[64];	// buffer to send out by RF
	  CMD6PacketStruct * ptr = (CMD6PacketStruct *)&PacketToSend[0];

	  ptr->startByte = '$';
	  ptr->cmd = 0x6;
	  ptr->len = sizeof(CMD6PacketStruct)-3-2;
	  ptr->voltage = ADC_data_0&0xFFFF;
	  ptr->current = ADC_data_1&0xFFFF;

	  ptr->mainMotor = SETmainMotor;
	  ptr->mainMotorValue = SETmainMotorValue;
	  ptr->secondMotor = SETsecondMotor;
	  ptr->secondMotorValue = SETsecondMotorValue;
	  ptr->servo1 = SETservo1;
	  ptr->servo1Value = SETservo1Value;
	  ptr->servo2 = SETservo2;
	  ptr->servo2Value = SETservo2Value;
	  ptr->indication = SETindication;

	  ptr->time = GPSdata.time;
	  ptr->day = GPSdata.day;
	  ptr->speed = GPSdata.speed;
	  ptr->hight = GPSdata.hight;
	  ptr->longer = GPSdata.longer;
	  ptr->longer_p = GPSdata.longer_p;
	  ptr->latit = GPSdata.latit;
	  ptr->latit_p = GPSdata.latit_p;
	  ptr->N_sp = GPSdata.N_sp;
	  ptr->autent = GPSdata.autent;
	  ptr->dir_deg = GPSdata.dir_deg;

	  ptr->temp1 = MPU_temp;
	  ptr->temp2 = BMP_temp;

	  ptr->pitch = Calc_Pitch*100;
	  ptr->roll = Calc_Roll*100;
	  ptr->yaw = Calc_Yaw*100;

	  ptr->press = BMP_press;
	  ptr->crc = 0x00;
	  ptr->endByte = '#';

	  unsigned char * pptr = &PacketToSend[3];
	  int i=0;
	  unsigned char matchCRC = 0;
	  for (i=0;i<(sizeof(CMD6PacketStruct)-3-2); i++)matchCRC ^= *pptr++;

	  ptr->crc = matchCRC;

	  BufferTxRf_len = 60;//sizeof(CMD6PacketStruct);
	  int r=0;
	  for (r=0; r<(sizeof(CMD6PacketStruct)); r++){
		  BufferTxRf[r] = PacketToSend[r];

		  /*
	  	UartRxBuffer[UartRxBuffer_wr] = PacketToSend[r];
	  	//if (UartRxBuffer_wr != UartRxBuffer_rd){	}						// if have not data to send => update packet to send.)
	  	//else {
	  		if (++UartRxBuffer_wr>=UART_BUF_SIZE) UartRxBuffer_wr = 0;*/
	  	//}	// or add command to send
	  }
}

void UseRxData()
{

	if (SETmainMotor != 0) TIM3->CCR1 = 1000 + ((SETmainMotorValue*1000)/0xFF);
	else TIM3->CCR1 = 1000;

	if (SETsecondMotor != 0) TIM3->CCR4 = 1000 + ((SETsecondMotorValue*1000)/0xFF);
	else TIM3->CCR4 = 1000;
if (SET_typeManage==0){	// manual manage
	//char cTemp1 = *(char *)&SETservo1Value;
	if (SETservo1 != 0) {
		int setValue;
		signed char scTemp = *(signed char *)&SETservo1Value;
		//if (SETservo1Value<=0x80) setValue = 1500 + ((SETservo1Value*500)/0x80);
		//else { setValue = 1500 - ((SETservo1Value*500)/0x80);}
		setValue = 1500 + ((scTemp*500)/0x7F);
		if ((setValue>2000) || (setValue<1000)) setValue = 1500;
		TIM3->CCR2 = setValue;
	}
	else TIM3->CCR2 = 1500;

	if (SETservo2 != 0) {
		int setValue;
		signed char scTemp = *(signed char *)&SETservo2Value;
		//if (SETservo2Value<=0x80) setValue = 1500 + ((SETservo2Value*500)/0x80);
		//else { setValue = 1500 - ((SETservo2Value*500)/0x80);}	//SETservo2Value = (~SETservo2Value)+1;
		setValue = 1500 + ((scTemp*500)/0x7F);
		if ((setValue>2000) || (setValue<1000)) setValue = 1500;
		TIM3->CCR3 = setValue;
	}
	else TIM3->CCR3 = 1500;
}
/*																//FIXME
	int r=0;
	for (r=0; r<(sizeof(CMD6PacketStruct)-2); r++){
		UartRxBuffer[UartRxBuffer_wr] = PacketToSend[r];
		if (++UartRxBuffer_wr>=UART_BUF_SIZE) UartRxBuffer_wr = 0;
	}*/
}

void ReadCommandStream(unsigned char data)
{
	static unsigned char cmd=0;

	static int position = 0;
	static int data_len = 0;

	static unsigned char PacketRx[255];
	static int PacketRxB = 0;
	static unsigned char PacketCRC = 0;

	unsigned char cTemp = data;//(uint8_t)(huart1.Instance->DR & (uint8_t)0x00FF);
	//HAL_UART_Transmit(&huart1, &UART_rx_bufer[UART_rx0_index], 1, 100);
	//HAL_UART_Receive

	PacketCRC ^= cTemp;

	if ((position == 0) && (cTemp == '$')) {position++; PacketCRC = 0;}
	else if ((position == 1) && ((cTemp == 0x12) || (cTemp == 0x14) || (cTemp == 0x16) || (cTemp == 0x18))) {cmd = cTemp; position++;}

	else if (position == 2) {data_len = cTemp; position++; PacketRxB = 0; PacketCRC = 0;}
	else if ((position == 3) && (data_len > 0)) {PacketRx[3+PacketRxB++] = cTemp; data_len--;}
	else if ((position == 3) && (data_len <= 0)) {position++;} //Check CRC

	else if ((position == 4) && (cTemp == '#')){

		timerUpdater=SET_CmdTimeout*100;
		//Printf("Motorv= %d\n\r", PacketRx[1]);
/*
		if (cmd == 0x12){
			SETmainMotor = PacketRx[0];
			SETmainMotorValue = PacketRx[1];
			SETservo1 = PacketRx[2];
			SETservo1Value = PacketRx[3];
			SETservo2 = PacketRx[4];
			SETservo2Value = PacketRx[5];
			SETindication = PacketRx[6];
		}
		else if (cmd == 0x14){SET_typeManage=0;
			SETmainMotor = PacketRx[2];
			SETmainMotorValue = PacketRx[3];
			SETsecondMotor = PacketRx[0];
			SETsecondMotorValue = PacketRx[1];
			SETservo1 = PacketRx[2+2];
			SETservo1Value = PacketRx[3+2];
			SETservo2 = PacketRx[4+2];
			SETservo2Value = PacketRx[5+2];
			SETindication = PacketRx[6+2];
		}
		else*/ if ((cmd == 0x16) || (cmd == 0x18)){

			CMD18PacketStruct * ptr = (CMD18PacketStruct *)PacketRx;

			SETmainMotor = ptr->mainMotor;					//PacketRx[2];
			SETmainMotorValue = ptr->mainMotorValue;		//PacketRx[3];
			SETsecondMotor = ptr->secondMotor;				//PacketRx[0];
			SETsecondMotorValue = ptr->secondMotorValue;	//PacketRx[1];
			SETservo1 = ptr->servo1;						//PacketRx[2+2+1];
			SETservo1Value = ptr->servo1Value;				//PacketRx[3+2+1];
			SETservo2 = ptr->servo2;						//PacketRx[4+2+1];
			SETservo2Value = ptr->servo2Value;				//PacketRx[5+2+1];
			SETindication = ptr->indication;				//PacketRx[6+2+1];

			SET_typeManage = ptr->typeManage;				//PacketRx[2+2];
			SET_StabRoll = ptr->StabRoll;					//PacketRx[10];
			SET_StabPitch = ptr->StabPitch;					//PacketRx[10+1];
			SET_StabYaw = ptr->StabYaw;						//PacketRx[10+2];
			SET_StabAngelPitch = ptr->StabAngelPitch;		//PacketRx[10+3];
			SET_StabAngelRoll = ptr->StabAngelRoll;			//PacketRx[10+4];
			SET_StabKoeffManage1 = ptr->StabKoeffManage1;	//PacketRx[10+5];
			SET_StabKoeffManage2 = ptr->StabKoeffManage2;	//PacketRx[10+6];
			SET_StabServo1 = ptr->StabServo1;				//PacketRx[10+7];
			SET_StabServo2 = ptr->StabServo2;				//PacketRx[10+8];
			SET_StabKoeffCh1 = ptr->StabKoeffCh1;			//PacketRx[10+9];
			SET_StabKoeffCh2 = ptr->StabKoeffCh2;			//PacketRx[10+10];

			SET_pos_rev = ptr->pos_rev;						//PacketRx[10+11];
			SET_pos_ang1 = ptr->pos_ang1;					//PacketRx[10+12];
			SET_pos_ang2 = ptr->pos_ang2;					//PacketRx[10+13];

			SET_StabServoMax1 = ptr->StabServoMax1;			//PacketRx[10+14];
			SET_StabServoMax2 = ptr->StabServoMax2;			//PacketRx[10+15];

			SET_CmdTimeout = ptr->CmdTimeout;				//PacketRx[10+16];

			if (cmd == 0x18){

				SET_math_K_angle = ptr->math_K_angle;		//PacketRx[10+17];
				SET_math_K_bias = ptr->math_K_bias;			//PacketRx[10+18];
				SET_math_K_measure = ptr->math_K_measure;	//PacketRx[10+19];
				SET_math_gyroRate = ptr->math_gyroRate;		//PacketRx[10+20];

				//SET_param(SET_math_K_angle, SET_math_K_bias, SET_math_K_measure);

				Kalman1.Q_angle = 0.001*SET_math_K_angle;
				Kalman1.Q_bias = 0.001*SET_math_K_bias;
				Kalman1.R_measure = 0.001*SET_math_K_measure;

				Kalman2.Q_angle = 0.001*SET_math_K_angle;
				Kalman2.Q_bias = 0.001*SET_math_K_bias;
				Kalman2.R_measure = 0.001*SET_math_K_measure;

			}

		}

		UseRxData();

		position = 0;

	}
	else position = 0;

}

#define MODEM_PINCONTROL 1	// For debug pin output

void ReadModem(void)
{
	if (modem_busy!=0)return;

    uint8_t xStatus = getStatus();
    if ((xStatus&(1<<4))!=0){	                                                //PACKET_RX

      //if ((xStatus&(1<<3))!=0){GPIO_WriteHigh(GPIOB, (GPIO_Pin_TypeDef)GPIO_PIN_5);Delay_ms(1);GPIO_WriteLow(GPIOB, (GPIO_Pin_TypeDef)GPIO_PIN_5);changeState(STATE_RX); continue;}

            RFread(rbuff, PACKET_LEN);
#if SYNCHRO_MODE
            if (rbuff[0] == PACKET_NONE ){
              NONE_P;
              NeedAnswer = 0; delay_to_wait_answer = 0;
            }
            else if (rbuff[0] == PACKET_ASK ){
              NONE_P;
              NeedAnswer = PACKET_ANSWER; delay_to_wait_answer = 0;
            }
            else if (rbuff[0] == PACKET_ANSWER ){
              NONE_P;
              NeedAnswer = 0; delay_to_wait_answer = 0;
            }
            else
#endif
              if (rbuff[0] == PACKET_DATA){

              NONE_P;

              NeedAnswer = PACKET_ANSWER; delay_to_wait_answer = 0;
              char cnt = rbuff[1]&0x3F;
              int i=2;
              if (cnt >=1){
            	  ReadCommandStreamArrayCnt[ReadCommandStreamArray_wr] = cnt;
                do{
               	 //HAL_UART_Transmit(&huart1, &rbuff[i], 1, 100);
               	// ReadCommandStream(rbuff[i]);
               	ReadCommandStreamArray[ReadCommandStreamArray_wr][i-2] = rbuff[i];
               	 i++;
                  //while (UART1_GetFlagStatus(UART1_FLAG_TXE) == RESET);
                  //UART1_SendData8((uint8_t)rbuff[i++]);
                }while(--cnt>0);
                if(++ReadCommandStreamArray_wr>=READCMDSTREAM_ARRAY)ReadCommandStreamArray_wr=0;
              }
            }
            changeState(STATE_RX);

            if (MODEM_PINCONTROL)HAL_GPIO_WritePin(PIN_SET_GPIO_Port, PIN_SET_Pin, GPIO_PIN_RESET);
            return;//continue;
    }
}

void ModemControl(void)
{
if (MODEM_PINCONTROL)HAL_GPIO_WritePin(PIN_SET_GPIO_Port, PIN_SET_Pin, GPIO_PIN_SET);
modem_busy=1;
    //uint8_t xStatus = getStatus();

    uint8_t buffer[6];
    SI446X_INT_STATUS(buffer);

    uint8_t xStatus = buffer[3];
    if(0)if ((xStatus&(1<<4))==0){	// GET carrier!?!? defect! need to clear bit.
    	if ((buffer[6]&0x3) != 0) {ThreadFly[thread_ModemControl].t_counter=0; return;}//thread_ModemControl.t_counter = 0; return;}
    }
     if ((xStatus&(1<<4))!=0){	                                                //PACKET_RX

       //if ((xStatus&(1<<3))!=0){GPIO_WriteHigh(GPIOB, (GPIO_Pin_TypeDef)GPIO_PIN_5);Delay_ms(1);GPIO_WriteLow(GPIOB, (GPIO_Pin_TypeDef)GPIO_PIN_5);changeState(STATE_RX); continue;}

             RFread(rbuff, PACKET_LEN);
             SI446X_FIFOINFO(0, 0, 1, 1);		// BUFFER CLEAR
#if SYNCHRO_MODE
             if (rbuff[0] == PACKET_NONE ){
               NONE_P;
               NeedAnswer = 0; delay_to_wait_answer = 0;
             }
             else if (rbuff[0] == PACKET_ASK ){
               NONE_P;
               NeedAnswer = PACKET_ANSWER; delay_to_wait_answer = 0;
             }
             else if (rbuff[0] == PACKET_ANSWER ){
               NONE_P;
               NeedAnswer = 0; delay_to_wait_answer = 0;
             }
             else
#endif
               if (rbuff[0] == PACKET_DATA){

               NONE_P;

               NeedAnswer = PACKET_ANSWER; delay_to_wait_answer = 0;
               char cnt = rbuff[1]&0x3F;
               int i=2;
               if (cnt >=1){
                 do{
                	 //HAL_UART_Transmit(&huart1, &rbuff[i], 1, 100);
                	 ReadCommandStream(rbuff[i++]);
                	 //i++;
                   //while (UART1_GetFlagStatus(UART1_FLAG_TXE) == RESET);
                   //UART1_SendData8((uint8_t)rbuff[i++]);
                 }while(--cnt>0);
               }
             }
             changeState(STATE_RX);

             if (MODEM_PINCONTROL)HAL_GPIO_WritePin(PIN_SET_GPIO_Port, PIN_SET_Pin, GPIO_PIN_RESET);
             modem_busy=0;
             //thread_ModemControl.t_counter = 0;
             ThreadFly[thread_ModemControl].t_counter=0;
             return;//continue;
     }

#if 0
     if(0)                                                                     // UART Echo
     while(UartRxBuffer_rd!=UartRxBuffer_wr){
         UART1_SendData8((uint8_t)UartRxBuffer[UartRxBuffer_rd]);
         while (UART1_GetFlagStatus(UART1_FLAG_TXE) == RESET);
         if (++UartRxBuffer_rd>=UART_BUF_SIZE) UartRxBuffer_rd = 0;
     }
#endif

     if (1){   //tx data

       if (delay_to_wait_answer == 0){                                         //The timer between the packets being sent. Otherwise, heap data was not accepted.

         unsigned char DataToSend = 0;
         //if(UartRxBuffer_rd!=UartRxBuffer_wr){
         if(BufferTxRf_len>0){
           //unsigned char int_status[9];
           //SI446X_INT_STATUS(int_status);
           //if (((int_status[5]&0x03)!=0x00) || ((int_status[6]&0x03)!=0x00)) continue;
           //if ((int_status[6]&0x03)!=0x00) continue;

//           while((DataToSend<60) && (UartRxBuffer_rd!=UartRxBuffer_wr)) {wbuff[2+DataToSend++] = UartRxBuffer[UartRxBuffer_rd]; if (++UartRxBuffer_rd>=UART_BUF_SIZE) UartRxBuffer_rd = 0;}
while((DataToSend<60) && (DataToSend<BufferTxRf_len)) {wbuff[2+DataToSend] = BufferTxRf[DataToSend];DataToSend++;}
           wbuff[1] = (DataToSend)&0x3F;
           wbuff[0] = PACKET_DATA;

           delay_measure_tx = 0;

           //GPIO_WriteHigh(GPIOB, (GPIO_Pin_TypeDef)GPIO_PIN_5);
           RFwrite(wbuff, PACKET_LEN);                                         // TX Data
           //GPIO_WriteLow(GPIOB, (GPIO_Pin_TypeDef)GPIO_PIN_5);

           //Printf("Data sended %d\n\r", UartRxBuffer_rd/60);

           delay_measure_tx++;
           if (SYNCHRO_MODE) delay_to_wait_answer = delay_measure_tx*4;  //50; //Set timer between send the packets
           else delay_to_wait_answer = 10;  //50;

//#include <stdlib.h>
           delay_synchro = 500;//400 + rand()%200;
           BufferTxRf_len=0;
         }
#if SYNCHRO_MODE

         if ((DataToSend == 0) && ((NeedAnswer>0) || (delay_synchro>0))){      //Maintain communication by sync pulses.

           //Delay_ms(delay_measure_tx_middle);                                  //So as not to foul the broadcast.

           if (NeedAnswer) {wbuff[0] = NeedAnswer; NeedAnswer=0;}              // Pulse is Answer
           else if (delay_synchro>0) wbuff[0] = PACKET_ASK;                    // Pulse is Ask
           else wbuff[0] = PACKET_NONE;                                        // Pulse is None
           //wbuff[0] &=0x03;
           delay_measure_tx = 0;
           //GPIO_WriteHigh(GPIOB, (GPIO_Pin_TypeDef)GPIO_PIN_5);
           RFwrite(wbuff, PACKET_LEN);                                         // TX Synchro Pulse
           //GPIO_WriteLow(GPIOB, (GPIO_Pin_TypeDef)GPIO_PIN_5);

           delay_measure_tx++;
           delay_measure_tx_middle = delay_measure_tx;
           delay_to_wait_answer = delay_measure_tx*4;  //50;
         }
#endif

       }
     }
       //Delay_ms(1000);

     modem_busy=0;
     if (MODEM_PINCONTROL)HAL_GPIO_WritePin(PIN_SET_GPIO_Port, PIN_SET_Pin, GPIO_PIN_RESET);
}

/* USER CODE END 4 */

void _Error_Handler(char * file, int line)
{
  while(1)
  {
  }
}

/************************ (C) COPYRIGHT STMicroelectronics *****END OF FILE****/
